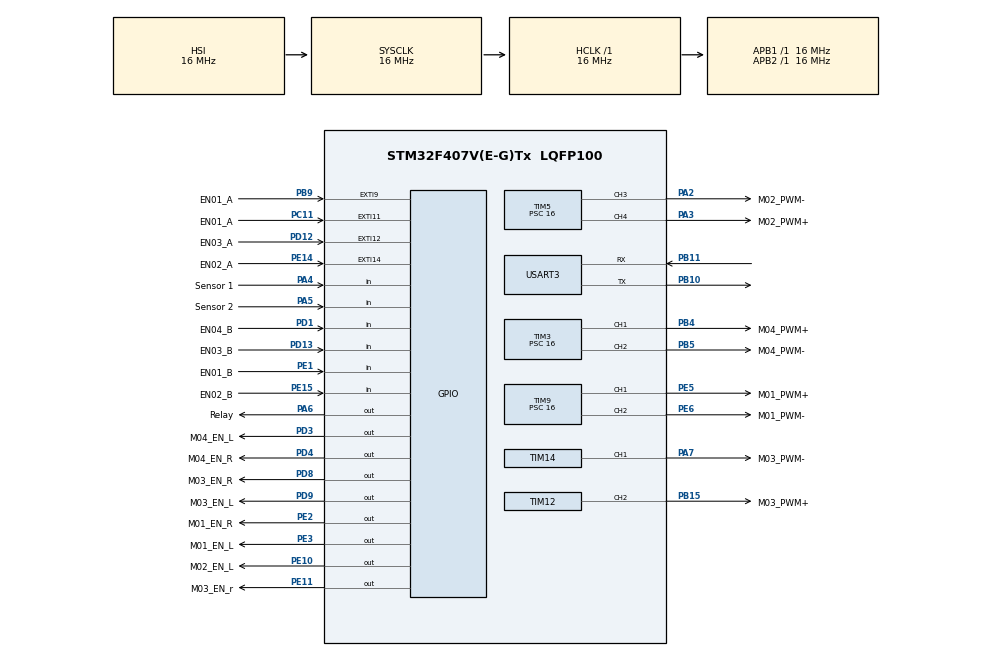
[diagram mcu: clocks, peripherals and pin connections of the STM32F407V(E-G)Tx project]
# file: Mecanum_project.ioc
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Dma.Request0=USART3_RX
Dma.USART3_RX.0.Direction=DMA_PERIPH_TO_MEMORY
Dma.USART3_RX.0.FIFOMode=DMA_FIFOMODE_DISABLE
Dma.USART3_RX.0.Instance=DMA1_Stream1
Dma.USART3_RX.0.MemDataAlignment=DMA_MDATAALIGN_BYTE
Dma.USART3_RX.0.MemInc=DMA_MINC_ENABLE
Dma.USART3_RX.0.Mode=DMA_NORMAL
Dma.USART3_RX.0.PeriphDataAlignment=DMA_PDATAALIGN_BYTE
Dma.USART3_RX.0.PeriphInc=DMA_PINC_DISABLE
Dma.USART3_RX.0.Priority=DMA_PRIORITY_LOW
Mcu.Family=STM32F4
Mcu.Name=STM32F407V(E-G)Tx
Mcu.Package=LQFP100
NVIC.DMA1_Stream1_IRQn=true\:0\:0\:false\:false\:true\:false\:true\:true
NVIC.EXTI15_10_IRQn=true\:2\:0\:true\:false\:true\:true\:true\:true
NVIC.EXTI9_5_IRQn=true\:2\:0\:true\:false\:true\:true\:true\:true
NVIC.PriorityGroup=NVIC_PRIORITYGROUP_4
NVIC.TIM4_IRQn=true\:1\:0\:true\:false\:true\:true\:true\:true
PA2.GPIO_Label=M02_PWM-
PA2.Signal=S_TIM5_CH3
PA3.GPIO_Label=M02_PWM+
PA3.Signal=S_TIM5_CH4
PA4.GPIO_Label=Sensor 1
PA4.Signal=GPIO_Input
PA5.GPIO_Label=Sensor 2
PA5.Signal=GPIO_Input
PA6.GPIO_Label=Relay
PA6.Signal=GPIO_Output
PA7.GPIO_Label=M03_PWM-
PA7.Signal=S_TIM14_CH1
PB10.Mode=Asynchronous
PB10.Signal=USART3_TX
PB11.Mode=Asynchronous
PB11.Signal=USART3_RX
PB15.GPIO_Label=M03_PWM+
PB15.Signal=S_TIM12_CH2
PB4.GPIO_Label=M04_PWM+
PB4.Signal=S_TIM3_CH1
PB5.GPIO_Label=M04_PWM-
PB5.Signal=S_TIM3_CH2
PB9.GPIO_Label=EN01_A
PB9.GPIO_ModeDefaultEXTI=GPIO_MODE_IT_FALLING
PB9.GPIO_PuPd=GPIO_PULLUP
PB9.Signal=GPXTI9
PC11.GPIO_Label=EN01_A
PC11.GPIO_ModeDefaultEXTI=GPIO_MODE_IT_FALLING
PC11.GPIO_PuPd=GPIO_PULLUP
PC11.Signal=GPXTI11
PD1.GPIO_Label=EN04_B
PD1.Signal=GPIO_Input
PD12.GPIO_Label=EN03_A
PD12.GPIO_ModeDefaultEXTI=GPIO_MODE_IT_FALLING
PD12.GPIO_PuPd=GPIO_PULLUP
PD12.Signal=GPXTI12
PD13.GPIO_Label=EN03_B
PD13.Signal=GPIO_Input
PD3.GPIO_Label=M04_EN_L
PD3.PinState=GPIO_PIN_SET
PD3.Signal=GPIO_Output
PD4.GPIO_Label=M04_EN_R
PD4.PinState=GPIO_PIN_SET
PD4.Signal=GPIO_Output
PD8.GPIO_Label=M03_EN_R
PD8.PinState=GPIO_PIN_SET
PD8.Signal=GPIO_Output
PD9.GPIO_Label=M03_EN_L
PD9.PinState=GPIO_PIN_SET
PD9.Signal=GPIO_Output
PE1.GPIO_Label=EN01_B
PE1.Signal=GPIO_Input
PE10.GPIO_Label=M02_EN_L
PE10.PinState=GPIO_PIN_SET
PE10.Signal=GPIO_Output
PE11.GPIO_Label=M03_EN_r
PE11.PinState=GPIO_PIN_SET
PE11.Signal=GPIO_Output
PE14.GPIO_Label=EN02_A
PE14.GPIO_ModeDefaultEXTI=GPIO_MODE_IT_FALLING
PE14.GPIO_PuPd=GPIO_PULLUP
PE14.Signal=GPXTI14
PE15.GPIO_Label=EN02_B
PE15.Signal=GPIO_Input
PE2.GPIO_Label=M01_EN_R
PE2.PinState=GPIO_PIN_SET
PE2.Signal=GPIO_Output
PE3.GPIO_Label=M01_EN_L
PE3.PinState=GPIO_PIN_SET
PE3.Signal=GPIO_Output
PE5.GPIO_Label=M01_PWM+
PE5.Signal=S_TIM9_CH1
PE6.GPIO_Label=M01_PWM-
PE6.Signal=S_TIM9_CH2
PH0-OSC_IN.Mode=HSE-External-Oscillator
PH0-OSC_IN.Signal=RCC_OSC_IN
PH1-OSC_OUT.Mode=HSE-External-Oscillator
PH1-OSC_OUT.Signal=RCC_OSC_OUT
ProjectManager.HeapSize=0x200
ProjectManager.StackSize=0x400
ProjectManager.TargetToolchain=MDK-ARM V5.27
RCC.48MHZClocksFreq_Value=48000000
RCC.AHBFreq_Value=16000000
RCC.APB1Freq_Value=16000000
RCC.APB1TimFreq_Value=16000000
RCC.APB2Freq_Value=16000000
RCC.APB2TimFreq_Value=16000000
RCC.CortexFreq_Value=16000000
RCC.HCLKFreq_Value=16000000
RCC.HSE_VALUE=25000000
RCC.HSI_VALUE=16000000
RCC.LSE_VALUE=32768
RCC.SYSCLKFreq_VALUE=16000000
RCC.VCOOutputFreq_Value=192000000
SH.S_TIM12_CH2.0=TIM12_CH2,PWM Generation2 CH2
SH.S_TIM14_CH1.0=TIM14_CH1,PWM Generation1 CH1
SH.S_TIM3_CH1.0=TIM3_CH1,PWM Generation1 CH1
SH.S_TIM3_CH2.0=TIM3_CH2,PWM Generation2 CH2
SH.S_TIM5_CH3.0=TIM5_CH3,PWM Generation3 CH3
SH.S_TIM5_CH4.0=TIM5_CH4,PWM Generation4 CH4
SH.S_TIM9_CH1.0=TIM9_CH1,PWM Generation1 CH1
SH.S_TIM9_CH2.0=TIM9_CH2,PWM Generation2 CH2
TIM12.Channel-PWM\ Generation2\ CH2=TIM_CHANNEL_2
TIM12.Period=999
TIM12.Prescaler=16
TIM14.Channel=TIM_CHANNEL_1
TIM14.Period=999
TIM14.Prescaler=16
TIM3.Channel-PWM\ Generation1\ CH1=TIM_CHANNEL_1
TIM3.Channel-PWM\ Generation2\ CH2=TIM_CHANNEL_2
TIM3.Period=999
TIM3.Prescaler=16
TIM4.Period=99
TIM4.Prescaler=16000
TIM5.Channel-PWM\ Generation3\ CH3=TIM_CHANNEL_3
TIM5.Channel-PWM\ Generation4\ CH4=TIM_CHANNEL_4
TIM5.Period=999
TIM5.Prescaler=16
TIM9.Channel-PWM\ Generation1\ CH1=TIM_CHANNEL_1
TIM9.Channel-PWM\ Generation2\ CH2=TIM_CHANNEL_2
TIM9.Period=999
TIM9.Prescaler=16
USART3.VirtualMode=VM_ASYNC
VP_TIM14_VS_ClockSourceINT.Mode=Enable_Timer
VP_TIM3_VS_ClockSourceINT.Mode=Internal
VP_TIM4_VS_ClockSourceINT.Mode=Internal
VP_TIM5_VS_ClockSourceINT.Mode=Internal
VP_TIM9_VS_ClockSourceINT.Mode=Internal
board=custom

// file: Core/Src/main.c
/* USER CODE BEGIN Header */
/**
  ******************************************************************************
  * @file           : main.c
  * @brief          : Main program body
  ******************************************************************************
  * @attention
  *
  * <h2><center>&copy; Copyright (c) 2022 STMicroelectronics.
  * All rights reserved.</center></h2>
  *
  * This software component is licensed by ST under BSD 3-Clause license,
  * the "License"; You may not use this file except in compliance with the
  * License. You may obtain a copy of the License at:
  *                        opensource.org/licenses/BSD-3-Clause
  *
  ******************************************************************************
  */
/* USER CODE END Header */
#include "main.h"

/* USER CODE BEGIN Includes */
#include "stdio.h"
#include "stdlib.h"
#include "string.h"
#include "math.h"
/* USER CODE END Includes */

TIM_HandleTypeDef htim3;
TIM_HandleTypeDef htim4;
TIM_HandleTypeDef htim5;
TIM_HandleTypeDef htim9;
TIM_HandleTypeDef htim12;
TIM_HandleTypeDef htim14;

UART_HandleTypeDef huart3;
DMA_HandleTypeDef hdma_usart3_rx;

/* USER CODE BEGIN PV */
uint8_t rx_data;
int rx_index = 0;
char rx_buffer[25];
char temp[25];
int check_var = 0;
//encoder variable
int pulse_counter1 = 0, pulse_counter2 = 0, pulse_counter3 = 0, pulse_counter4 = 0;

//velocity variable
float M_PI = 3.14;
float vx = 0, vy = 0, w_angle = 0;
float w_reference1_temp = 0, w_reference2_temp = 0, w_reference3_temp = 0, w_reference4_temp = 0; // van toc banh xe (rad/s)
float w_reference1 = 0, w_reference2 = 0, w_reference3 = 0, w_reference4 = 0; // van toc banh xe (rpm)
float w1 = 0, w2 = 0, w3 = 0, w4 = 0; // van toc thuc te cua banh xe (rpm)
float e1 = 0, e2 = 0, e3 = 0, e4 = 0; // sai lech van toc thuc te va van toc dat cua banh xe
float pre_e1 = 0, pre_e2 = 0, pre_e3 = 0, pre_e4 = 0;  // gia tri sai lech van toc e-1
float const max_pwm = 500;  // do rong xung max

//robot variable
float const r_wheel = 0.048;  // ban kinh banh xe
float lx = 0.21919; // khoang cach tu tam banh xe den tam robot theo phuong x
float ly = 0.21647; // khoang cach tu banh xe den tam robot theo phuong y

//PID parameters
float kP = 1.2, kI = 0.08, kD = 0.002;  // bo dieu khien pid
float pPart1 = 0, pPart2 = 0, pPart3 = 0, pPart4 = 0;
float iPart1 = 0, iPart2 = 0, iPart3 = 0, iPart4 = 0;
float dPart1 = 0, dPart2 = 0, dPart3 = 0, dPart4 = 0;
float PID_signal1 = 0, PID_signal2 = 0, PID_signal3 = 0, PID_signal4 = 0;		//do rong xung
float signal_pos1 = 0, signal_neg1 = 0;  //signal_pos: dong co quay thuan. signal_neg: dong co quay nguoc
float signal_pos2 = 0, signal_neg2 = 0;
float signal_pos3 = 0, signal_neg3 = 0;
float signal_pos4 = 0, signal_neg4 = 0;

// Posion calcalate
float w1_rad = 0, w2_rad = 0, w3_rad = 0, w4_rad = 0;
float v_wheel1 = 0, v_wheel2 = 0, v_wheel3 = 0, v_wheel4 = 0;

// Sensor parameters
unsigned int flag = 0;
unsigned int Sensor1;
unsigned int Sensor2;

/* USER CODE END PV */

void SystemClock_Config(void);
static void MX_GPIO_Init(void);
static void MX_DMA_Init(void);
static void MX_TIM3_Init(void);
static void MX_TIM4_Init(void);
static void MX_TIM5_Init(void);
static void MX_TIM9_Init(void);
static void MX_TIM12_Init(void);
static void MX_TIM14_Init(void);
static void MX_USART3_UART_Init(void);

/* USER CODE BEGIN 0 */
void Init_Motor1()  // khoi tao dong co
{

	////Enable H-bridge // enable cau H
	HAL_GPIO_WritePin(GPIOE, GPIO_PIN_2, 1);			//bridge1 EN_R
	HAL_GPIO_WritePin(GPIOE, GPIO_PIN_3, 1);			//bridge1 EN_L
	////Start PWM // start pwm
	//PWM Motor 1
	HAL_TIM_PWM_Start(&htim9, TIM_CHANNEL_1);			//Motor1 +
	HAL_TIM_PWM_Start(&htim9, TIM_CHANNEL_2);			//Motor1 -
// set van toc = 0
	__HAL_TIM_SetCompare(&htim9, TIM_CHANNEL_1, 0);
	__HAL_TIM_SetCompare(&htim9, TIM_CHANNEL_2, 0);
}

void Init_Motor2()
{
	////Enable H-bridge
	HAL_GPIO_WritePin(GPIOE, GPIO_PIN_11, 1);			//bridge1 EN_R
	HAL_GPIO_WritePin(GPIOE, GPIO_PIN_10, 1);			//bridge1 EN_L
	////Start PWM
	//PWM Motor 2
	HAL_TIM_PWM_Start(&htim5, TIM_CHANNEL_3);			//Motor2 +
	HAL_TIM_PWM_Start(&htim5, TIM_CHANNEL_4);			//Motor2 -

	__HAL_TIM_SetCompare(&htim5,TIM_CHANNEL_3, 0);
	__HAL_TIM_SetCompare(&htim5,TIM_CHANNEL_4, 0);

}

void Init_Motor3()
{
	////Enable H-bridge
	HAL_GPIO_WritePin(GPIOD, GPIO_PIN_8, 1);			//bridge1 EN_R
	HAL_GPIO_WritePin(GPIOD, GPIO_PIN_9, 1);			//bridge1 EN_L
	////Start PWM
	//PWM Motor 3
	HAL_TIM_PWM_Start(&htim14, TIM_CHANNEL_1);		//Motor3 +
	HAL_TIM_PWM_Start(&htim12, TIM_CHANNEL_2);		//Motor3 -

	__HAL_TIM_SetCompare(&htim14,TIM_CHANNEL_1, 0);
	__HAL_TIM_SetCompare(&htim12,TIM_CHANNEL_2, 0);
}

void Init_Motor4()
{
	////Enable H-bridge
	HAL_GPIO_WritePin(GPIOB, GPIO_PIN_3, 1);			//bridge1 EN_R
	HAL_GPIO_WritePin(GPIOG, GPIO_PIN_15, 1);			//bridge1 EN_L
	////Start PWM
	//PWM Motor 4
	HAL_TIM_PWM_Start(&htim3, TIM_CHANNEL_1);			//Motor4 +
	HAL_TIM_PWM_Start(&htim3, TIM_CHANNEL_2);			//Motor4 -

	__HAL_TIM_SetCompare(&htim3,TIM_CHANNEL_1, 0);
	__HAL_TIM_SetCompare(&htim3,TIM_CHANNEL_2, 0);
}

//Function of sensor
void sensorCheck()
{
		/**Sensor1 = HAL_GPIO_ReadPin(Sensor_1_GPIO_Port, Sensor1);
		Sensor2 = HAL_GPIO_ReadPin(Sensor_2_GPIO_Port, Sensor2);
    if ((Sensor1 == 1 && Sensor2 == 0))
    {
      flag =1;

    }
		else if((Sensor1 == 0 && Sensor2 == 1) ){

			flag = 0;

		}
    if (flag == 1)
    {
      HAL_GPIO_WritePin(Relay_GPIO_Port, Relay_Pin, 1);

    }
    else
    {

      HAL_GPIO_WritePin(Relay_GPIO_Port, Relay_Pin, 0);
    }*/
}

/* USER CODE END 0 */

int main(void)
{

  /* MCU Configuration--------------------------------------------------------*/

  /* Reset of all peripherals, Initializes the Flash interface and the Systick. */
  HAL_Init();

  /* Configure the system clock */
  SystemClock_Config();

  /* Initialize all configured peripherals */
  MX_GPIO_Init();
  MX_DMA_Init();
  MX_TIM3_Init();
  MX_TIM4_Init();
  MX_TIM5_Init();
  MX_TIM9_Init();
  MX_TIM12_Init();
  MX_TIM14_Init();
  MX_USART3_UART_Init();
  /* USER CODE BEGIN 2 */
  HAL_TIM_Base_Start_IT(&htim4);
  ////Start UART Receive interupt
	HAL_UART_Receive_DMA(&huart3, &rx_data, 1);

  Init_Motor1();
  Init_Motor2();
  Init_Motor3();
  Init_Motor4();
  /* USER CODE END 2 */

  /* Infinite loop */
  while (1)
  {
		//sensorCheck();
		Sensor1 = HAL_GPIO_ReadPin(Sensor_1_GPIO_Port, Sensor1);
		Sensor2 = HAL_GPIO_ReadPin(Sensor_2_GPIO_Port, Sensor2);
    if ((Sensor1 == 1 && Sensor2 == 0))
    {
      flag =1;

    }
		else if((Sensor1 == 0 && Sensor2 == 1) ){

			flag = 0;

		}
    if (flag == 1)
    {
      HAL_GPIO_WritePin(Relay_GPIO_Port, Relay_Pin, 1);

    }
    else
    {

      HAL_GPIO_WritePin(Relay_GPIO_Port, Relay_Pin, 0);
    }
  }
}

void SystemClock_Config(void)
{
  RCC_OscInitTypeDef RCC_OscInitStruct = {0};
  RCC_ClkInitTypeDef RCC_ClkInitStruct = {0};

  /** Configure the main internal regulator output voltage
  */
  __HAL_RCC_PWR_CLK_ENABLE();
  __HAL_PWR_VOLTAGESCALING_CONFIG(PWR_REGULATOR_VOLTAGE_SCALE1);
  /** Initializes the RCC Oscillators according to the specified parameters
  * in the RCC_OscInitTypeDef structure.
  */
  RCC_OscInitStruct.OscillatorType = RCC_OSCILLATORTYPE_HSI;
  RCC_OscInitStruct.HSIState = RCC_HSI_ON;
  RCC_OscInitStruct.HSICalibrationValue = RCC_HSICALIBRATION_DEFAULT;
  RCC_OscInitStruct.PLL.PLLState = RCC_PLL_NONE;
  if (HAL_RCC_OscConfig(&RCC_OscInitStruct) != HAL_OK)
  {
    Error_Handler();
  }
  /** Initializes the CPU, AHB and APB buses clocks
  */
  RCC_ClkInitStruct.ClockType = RCC_CLOCKTYPE_HCLK|RCC_CLOCKTYPE_SYSCLK
                              |RCC_CLOCKTYPE_PCLK1|RCC_CLOCKTYPE_PCLK2;
  RCC_ClkInitStruct.SYSCLKSource = RCC_SYSCLKSOURCE_HSI;
  RCC_ClkInitStruct.AHBCLKDivider = RCC_SYSCLK_DIV1;
  RCC_ClkInitStruct.APB1CLKDivider = RCC_HCLK_DIV1;
  RCC_ClkInitStruct.APB2CLKDivider = RCC_HCLK_DIV1;

  if (HAL_RCC_ClockConfig(&RCC_ClkInitStruct, FLASH_LATENCY_0) != HAL_OK)
  {
    Error_Handler();
  }
}

static void MX_TIM3_Init(void)
{

  TIM_ClockConfigTypeDef sClockSourceConfig = {0};
  TIM_MasterConfigTypeDef sMasterConfig = {0};
  TIM_OC_InitTypeDef sConfigOC = {0};

  htim3.Instance = TIM3;
  htim3.Init.Prescaler = 16;
  htim3.Init.CounterMode = TIM_COUNTERMODE_UP;
  htim3.Init.Period = 999;
  htim3.Init.ClockDivision = TIM_CLOCKDIVISION_DIV1;
  htim3.Init.AutoReloadPreload = TIM_AUTORELOAD_PRELOAD_DISABLE;
  if (HAL_TIM_Base_Init(&htim3) != HAL_OK)
  {
    Error_Handler();
  }
  sClockSourceConfig.ClockSource = TIM_CLOCKSOURCE_INTERNAL;
  if (HAL_TIM_ConfigClockSource(&htim3, &sClockSourceConfig) != HAL_OK)
  {
    Error_Handler();
  }
  if (HAL_TIM_PWM_Init(&htim3) != HAL_OK)
  {
    Error_Handler();
  }
  sMasterConfig.MasterOutputTrigger = TIM_TRGO_RESET;
  sMasterConfig.MasterSlaveMode = TIM_MASTERSLAVEMODE_DISABLE;
  if (HAL_TIMEx_MasterConfigSynchronization(&htim3, &sMasterConfig) != HAL_OK)
  {
    Error_Handler();
  }
  sConfigOC.OCMode = TIM_OCMODE_PWM1;
  sConfigOC.Pulse = 0;
  sConfigOC.OCPolarity = TIM_OCPOLARITY_HIGH;
  sConfigOC.OCFastMode = TIM_OCFAST_DISABLE;
  if (HAL_TIM_PWM_ConfigChannel(&htim3, &sConfigOC, TIM_CHANNEL_1) != HAL_OK)
  {
    Error_Handler();
  }
  if (HAL_TIM_PWM_ConfigChannel(&htim3, &sConfigOC, TIM_CHANNEL_2) != HAL_OK)
  {
    Error_Handler();
  }
  HAL_TIM_MspPostInit(&htim3);

}

static void MX_TIM4_Init(void)
{

  TIM_ClockConfigTypeDef sClockSourceConfig = {0};
  TIM_MasterConfigTypeDef sMasterConfig = {0};

  htim4.Instance = TIM4;
  htim4.Init.Prescaler = 16000;
  htim4.Init.CounterMode = TIM_COUNTERMODE_UP;
  htim4.Init.Period = 99;
  htim4.Init.ClockDivision = TIM_CLOCKDIVISION_DIV1;
  htim4.Init.AutoReloadPreload = TIM_AUTORELOAD_PRELOAD_DISABLE;
  if (HAL_TIM_Base_Init(&htim4) != HAL_OK)
  {
    Error_Handler();
  }
  sClockSourceConfig.ClockSource = TIM_CLOCKSOURCE_INTERNAL;
  if (HAL_TIM_ConfigClockSource(&htim4, &sClockSourceConfig) != HAL_OK)
  {
    Error_Handler();
  }
  sMasterConfig.MasterOutputTrigger = TIM_TRGO_RESET;
  sMasterConfig.MasterSlaveMode = TIM_MASTERSLAVEMODE_DISABLE;
  if (HAL_TIMEx_MasterConfigSynchronization(&htim4, &sMasterConfig) != HAL_OK)
  {
    Error_Handler();
  }

}

static void MX_TIM5_Init(void)
{

  TIM_ClockConfigTypeDef sClockSourceConfig = {0};
  TIM_MasterConfigTypeDef sMasterConfig = {0};
  TIM_OC_InitTypeDef sConfigOC = {0};

  htim5.Instance = TIM5;
  htim5.Init.Prescaler = 16;
  htim5.Init.CounterMode = TIM_COUNTERMODE_UP;
  htim5.Init.Period = 999;
  htim5.Init.ClockDivision = TIM_CLOCKDIVISION_DIV1;
  htim5.Init.AutoReloadPreload = TIM_AUTORELOAD_PRELOAD_DISABLE;
  if (HAL_TIM_Base_Init(&htim5) != HAL_OK)
  {
    Error_Handler();
  }
  sClockSourceConfig.ClockSource = TIM_CLOCKSOURCE_INTERNAL;
  if (HAL_TIM_ConfigClockSource(&htim5, &sClockSourceConfig) != HAL_OK)
  {
    Error_Handler();
  }
  if (HAL_TIM_PWM_Init(&htim5) != HAL_OK)
  {
    Error_Handler();
  }
  sMasterConfig.MasterOutputTrigger = TIM_TRGO_RESET;
  sMasterConfig.MasterSlaveMode = TIM_MASTERSLAVEMODE_DISABLE;
  if (HAL_TIMEx_MasterConfigSynchronization(&htim5, &sMasterConfig) != HAL_OK)
  {
    Error_Handler();
  }
  sConfigOC.OCMode = TIM_OCMODE_PWM1;
  sConfigOC.Pulse = 0;
  sConfigOC.OCPolarity = TIM_OCPOLARITY_HIGH;
  sConfigOC.OCFastMode = TIM_OCFAST_DISABLE;
  if (HAL_TIM_PWM_ConfigChannel(&htim5, &sConfigOC, TIM_CHANNEL_3) != HAL_OK)
  {
    Error_Handler();
  }
  if (HAL_TIM_PWM_ConfigChannel(&htim5, &sConfigOC, TIM_CHANNEL_4) != HAL_OK)
  {
    Error_Handler();
  }
  HAL_TIM_MspPostInit(&htim5);

}

static void MX_TIM9_Init(void)
{

  TIM_ClockConfigTypeDef sClockSourceConfig = {0};
  TIM_OC_InitTypeDef sConfigOC = {0};

  htim9.Instance = TIM9;
  htim9.Init.Prescaler = 16;
  htim9.Init.CounterMode = TIM_COUNTERMODE_UP;
  htim9.Init.Period = 999;
  htim9.Init.ClockDivision = TIM_CLOCKDIVISION_DIV1;
  htim9.Init.AutoReloadPreload = TIM_AUTORELOAD_PRELOAD_DISABLE;
  if (HAL_TIM_Base_Init(&htim9) != HAL_OK)
  {
    Error_Handler();
  }
  sClockSourceConfig.ClockSource = TIM_CLOCKSOURCE_INTERNAL;
  if (HAL_TIM_ConfigClockSource(&htim9, &sClockSourceConfig) != HAL_OK)
  {
    Error_Handler();
  }
  if (HAL_TIM_PWM_Init(&htim9) != HAL_OK)
  {
    Error_Handler();
  }
  sConfigOC.OCMode = TIM_OCMODE_PWM1;
  sConfigOC.Pulse = 0;
  sConfigOC.OCPolarity = TIM_OCPOLARITY_HIGH;
  sConfigOC.OCFastMode = TIM_OCFAST_DISABLE;
  if (HAL_TIM_PWM_ConfigChannel(&htim9, &sConfigOC, TIM_CHANNEL_1) != HAL_OK)
  {
    Error_Handler();
  }
  if (HAL_TIM_PWM_ConfigChannel(&htim9, &sConfigOC, TIM_CHANNEL_2) != HAL_OK)
  {
    Error_Handler();
  }
  HAL_TIM_MspPostInit(&htim9);

}

static void MX_TIM12_Init(void)
{

  TIM_OC_InitTypeDef sConfigOC = {0};

  htim12.Instance = TIM12;
  htim12.Init.Prescaler = 16;
  htim12.Init.CounterMode = TIM_COUNTERMODE_UP;
  htim12.Init.Period = 999;
  htim12.Init.ClockDivision = TIM_CLOCKDIVISION_DIV1;
  htim12.Init.AutoReloadPreload = TIM_AUTORELOAD_PRELOAD_DISABLE;
  if (HAL_TIM_PWM_Init(&htim12) != HAL_OK)
  {
    Error_Handler();
  }
  sConfigOC.OCMode = TIM_OCMODE_PWM1;
  sConfigOC.Pulse = 0;
  sConfigOC.OCPolarity = TIM_OCPOLARITY_HIGH;
  sConfigOC.OCFastMode = TIM_OCFAST_DISABLE;
  if (HAL_TIM_PWM_ConfigChannel(&htim12, &sConfigOC, TIM_CHANNEL_2) != HAL_OK)
  {
    Error_Handler();
  }
  HAL_TIM_MspPostInit(&htim12);

}

static void MX_TIM14_Init(void)
{

  TIM_OC_InitTypeDef sConfigOC = {0};

  htim14.Instance = TIM14;
  htim14.Init.Prescaler = 16;
  htim14.Init.CounterMode = TIM_COUNTERMODE_UP;
  htim14.Init.Period = 999;
  htim14.Init.ClockDivision = TIM_CLOCKDIVISION_DIV1;
  htim14.Init.AutoReloadPreload = TIM_AUTORELOAD_PRELOAD_DISABLE;
  if (HAL_TIM_Base_Init(&htim14) != HAL_OK)
  {
    Error_Handler();
  }
  if (HAL_TIM_PWM_Init(&htim14) != HAL_OK)
  {
    Error_Handler();
  }
  sConfigOC.OCMode = TIM_OCMODE_PWM1;
  sConfigOC.Pulse = 0;
  sConfigOC.OCPolarity = TIM_OCPOLARITY_HIGH;
  sConfigOC.OCFastMode = TIM_OCFAST_DISABLE;
  if (HAL_TIM_PWM_ConfigChannel(&htim14, &sConfigOC, TIM_CHANNEL_1) != HAL_OK)
  {
    Error_Handler();
  }
  HAL_TIM_MspPostInit(&htim14);

}

static void MX_USART3_UART_Init(void)
{

  huart3.Instance = USART3;
  huart3.Init.BaudRate = 115200;
  huart3.Init.WordLength = UART_WORDLENGTH_8B;
  huart3.Init.StopBits = UART_STOPBITS_1;
  huart3.Init.Parity = UART_PARITY_NONE;
  huart3.Init.Mode = UART_MODE_TX_RX;
  huart3.Init.HwFlowCtl = UART_HWCONTROL_NONE;
  huart3.Init.OverSampling = UART_OVERSAMPLING_16;
  if (HAL_UART_Init(&huart3) != HAL_OK)
  {
    Error_Handler();
  }

}

static void MX_DMA_Init(void)
{

  /* DMA controller clock enable */
  __HAL_RCC_DMA1_CLK_ENABLE();

  /* DMA interrupt init */
  /* DMA1_Stream1_IRQn interrupt configuration */
  HAL_NVIC_SetPriority(DMA1_Stream1_IRQn, 0, 0);
  HAL_NVIC_EnableIRQ(DMA1_Stream1_IRQn);

}

static void MX_GPIO_Init(void)
{
  GPIO_InitTypeDef GPIO_InitStruct = {0};

  /* GPIO Ports Clock Enable */
  __HAL_RCC_GPIOE_CLK_ENABLE();
  __HAL_RCC_GPIOH_CLK_ENABLE();
  __HAL_RCC_GPIOA_CLK_ENABLE();
  __HAL_RCC_GPIOB_CLK_ENABLE();
  __HAL_RCC_GPIOD_CLK_ENABLE();
  __HAL_RCC_GPIOC_CLK_ENABLE();

  /*Configure GPIO pin Output Level */
  HAL_GPIO_WritePin(GPIOE, M01_EN_R_Pin|M01_EN_L_Pin|M02_EN_L_Pin|M03_EN_r_Pin, GPIO_PIN_SET);

  /*Configure GPIO pin Output Level */
  HAL_GPIO_WritePin(Relay_GPIO_Port, Relay_Pin, GPIO_PIN_RESET);

  /*Configure GPIO pin Output Level */
  HAL_GPIO_WritePin(GPIOD, M03_EN_R_Pin|M03_EN_L_Pin|M04_EN_L_Pin|M04_EN_R_Pin, GPIO_PIN_SET);

  /*Configure GPIO pins : M01_EN_R_Pin M01_EN_L_Pin M02_EN_L_Pin M03_EN_r_Pin */
  GPIO_InitStruct.Pin = M01_EN_R_Pin|M01_EN_L_Pin|M02_EN_L_Pin|M03_EN_r_Pin;
  GPIO_InitStruct.Mode = GPIO_MODE_OUTPUT_PP;
  GPIO_InitStruct.Pull = GPIO_NOPULL;
  GPIO_InitStruct.Speed = GPIO_SPEED_FREQ_LOW;
  HAL_GPIO_Init(GPIOE, &GPIO_InitStruct);

  /*Configure GPIO pins : Sensor_1_Pin Sensor_2_Pin */
  GPIO_InitStruct.Pin = Sensor_1_Pin|Sensor_2_Pin;
  GPIO_InitStruct.Mode = GPIO_MODE_INPUT;
  GPIO_InitStruct.Pull = GPIO_NOPULL;
  HAL_GPIO_Init(GPIOA, &GPIO_InitStruct);

  /*Configure GPIO pin : Relay_Pin */
  GPIO_InitStruct.Pin = Relay_Pin;
  GPIO_InitStruct.Mode = GPIO_MODE_OUTPUT_PP;
  GPIO_InitStruct.Pull = GPIO_NOPULL;
  GPIO_InitStruct.Speed = GPIO_SPEED_FREQ_LOW;
  HAL_GPIO_Init(Relay_GPIO_Port, &GPIO_InitStruct);

  /*Configure GPIO pin : EN02_A_Pin */
  GPIO_InitStruct.Pin = EN02_A_Pin;
  GPIO_InitStruct.Mode = GPIO_MODE_IT_FALLING;
  GPIO_InitStruct.Pull = GPIO_PULLUP;
  HAL_GPIO_Init(EN02_A_GPIO_Port, &GPIO_InitStruct);

  /*Configure GPIO pins : EN02_B_Pin EN01_B_Pin */
  GPIO_InitStruct.Pin = EN02_B_Pin|EN01_B_Pin;
  GPIO_InitStruct.Mode = GPIO_MODE_INPUT;
  GPIO_InitStruct.Pull = GPIO_NOPULL;
  HAL_GPIO_Init(GPIOE, &GPIO_InitStruct);

  /*Configure GPIO pins : M03_EN_R_Pin M03_EN_L_Pin M04_EN_L_Pin M04_EN_R_Pin */
  GPIO_InitStruct.Pin = M03_EN_R_Pin|M03_EN_L_Pin|M04_EN_L_Pin|M04_EN_R_Pin;
  GPIO_InitStruct.Mode = GPIO_MODE_OUTPUT_PP;
  GPIO_InitStruct.Pull = GPIO_NOPULL;
  GPIO_InitStruct.Speed = GPIO_SPEED_FREQ_LOW;
  HAL_GPIO_Init(GPIOD, &GPIO_InitStruct);

  /*Configure GPIO pin : EN03_A_Pin */
  GPIO_InitStruct.Pin = EN03_A_Pin;
  GPIO_InitStruct.Mode = GPIO_MODE_IT_FALLING;
  GPIO_InitStruct.Pull = GPIO_PULLUP;
  HAL_GPIO_Init(EN03_A_GPIO_Port, &GPIO_InitStruct);

  /*Configure GPIO pins : EN03_B_Pin EN04_B_Pin */
  GPIO_InitStruct.Pin = EN03_B_Pin|EN04_B_Pin;
  GPIO_InitStruct.Mode = GPIO_MODE_INPUT;
  GPIO_InitStruct.Pull = GPIO_NOPULL;
  HAL_GPIO_Init(GPIOD, &GPIO_InitStruct);

  /*Configure GPIO pin : EN01_A_Pin */
  GPIO_InitStruct.Pin = EN01_A_Pin;
  GPIO_InitStruct.Mode = GPIO_MODE_IT_FALLING;
  GPIO_InitStruct.Pull = GPIO_PULLUP;
  HAL_GPIO_Init(EN01_A_GPIO_Port, &GPIO_InitStruct);

  /*Configure GPIO pin : EN01_AB9_Pin */
  GPIO_InitStruct.Pin = EN01_AB9_Pin;
  GPIO_InitStruct.Mode = GPIO_MODE_IT_FALLING;
  GPIO_InitStruct.Pull = GPIO_PULLUP;
  HAL_GPIO_Init(EN01_AB9_GPIO_Port, &GPIO_InitStruct);

  /* EXTI interrupt init*/
  HAL_NVIC_SetPriority(EXTI9_5_IRQn, 2, 0);
  HAL_NVIC_EnableIRQ(EXTI9_5_IRQn);

  HAL_NVIC_SetPriority(EXTI15_10_IRQn, 2, 0);
  HAL_NVIC_EnableIRQ(EXTI15_10_IRQn);

}

/* USER CODE BEGIN 4 */
void cal_vel_ref(float vx, float vy, float w_angle)  // tinh van toc cua moi banh xe
{
	//calculate ref for each wheel
	w_reference1_temp = (1/r_wheel)*(vx - vy - (lx + ly)*w_angle);		    //(rad/s)
	w_reference2_temp = (1/r_wheel)*(vx + vy + (lx + ly)*w_angle);		//(rad/s)
	w_reference3_temp = (1/r_wheel)*(vx + vy - (lx + ly)*w_angle);		    //(rad/s)
	w_reference4_temp = (1/r_wheel)*(vx - vy + (lx + ly)*w_angle);	    //(rad/s)

	//doi sang don vi rpm
	w_reference1 = (w_reference1_temp)*60/(2*M_PI);
	w_reference2 = (w_reference2_temp)*60/(2*M_PI);
	w_reference3 = (w_reference3_temp)*60/(2*M_PI);
	w_reference4 = (w_reference4_temp)*60/(2*M_PI);
}

void PID_controller_wheel1(float w_reference1)	//bo dieu khien pid cho banh xe
{
	w1 = (float)(pulse_counter1)*2.609;		//van toc thuc te cua banh xe = pulse_counte * (60*10)/230
	pulse_counter1 = 0; //reset encoder = 0
	if(w_reference1 == 0)		//neu van toc dat = 0 thi van toc dong co = 0
	{
		signal_pos1 = 0;
		signal_neg1 = 0;
	}
	else //neu van toc dat khac 0
	{
		e1 = w_reference1 - w1;		//sai lech van toc
		pPart1 = kP*e1;		//cong thuc PID
		iPart1 += kI*e1*0.1;
		dPart1 = kD*(e1 - pre_e1)*10;
		PID_signal1 += pPart1 + iPart1 + dPart1; // cong thuc pid

		if (PID_signal1 > max_pwm) PID_signal1 = max_pwm;	//van toc max cua dong co
		if (PID_signal1 < -max_pwm) PID_signal1 = -max_pwm;

		if (PID_signal1 >= 0)		//dong co quay thuan
		{	//quay thuan
			signal_pos1 = 0;
			signal_neg1 = PID_signal1;
		}
		else		// dong co quay nguoc
		{	//quay nguoc
			signal_pos1 = -PID_signal1;
			signal_neg1 = 0;
		}
		pre_e1 = e1;
	}
}
void PID_controller_wheel2(float w_reference2)
{
	w2 = (float)(pulse_counter2)*2.609;
	pulse_counter2 = 0;
	if(w_reference2 == 0)
	{
		signal_pos2 = 0;
		signal_neg2 = 0;
	}
	else
	{
		e2 = w_reference2 - w2;
		pPart2 = kP*e2;
		iPart2 += kI*e2*0.1;
		dPart2 = kD*(e2 - pre_e2)*10;
		PID_signal2 += pPart2 + iPart2 + dPart2;

		if (PID_signal2 > max_pwm) PID_signal2 = max_pwm;
		if (PID_signal2 < -max_pwm) PID_signal2 = -max_pwm;

		if (PID_signal2 >= 0)
		{	//quay thuan
			signal_pos2 = PID_signal2;
			signal_neg2 = 0;
		}
		else
		{	//quay nguoc
			signal_pos2 = 0;
			signal_neg2 = -PID_signal2;
		}
		pre_e2 = e2;
	}
}
void PID_controller_wheel3(float w_reference3)
{
	w3 = (float)(pulse_counter3)*2.609;
	pulse_counter3 = 0;
	if(w_reference3 == 0)
	{
		signal_pos3 = 0;
		signal_neg3 = 0;
	}
	else
	{
		e3 = w_reference3 - w3;
		pPart3 = kP*e3;
		iPart3 += kI*e3*0.1;
		dPart3 = kD*(e3 - pre_e3)*10;
		PID_signal3 += pPart3 + iPart3 + dPart3;

		if (PID_signal3 > max_pwm) PID_signal3 = max_pwm;
		if (PID_signal3 < -max_pwm) PID_signal3 = -max_pwm;

		if (PID_signal3 >= 0)
		{	//quay thuan
			signal_pos3 = 0;
			signal_neg3 = PID_signal3;
		}
		else
		{	//quay nguoc
			signal_pos3 = -PID_signal3;
			signal_neg3 = 0;
		}
		pre_e3 = e3;
	}
}
void PID_controller_wheel4(float w_reference4)
{
	w4 = (float)(pulse_counter4)*2.609;
	pulse_counter4 = 0;
	if(w_reference4 == 0)
	{
		signal_pos4 = 0;
		signal_neg4 = 0;
	}
	else
	{
		e4 = w_reference4 - w4;
		pPart4 = kP*e4;
		iPart4 += kI*e4*0.1;
		dPart4 = kD*(e4 - pre_e4)*10;
		PID_signal4 += pPart4 + iPart4 + dPart4;

		if (PID_signal4 > max_pwm) PID_signal4 = max_pwm;
		if (PID_signal4 < -max_pwm) PID_signal4 = -max_pwm;

		if (PID_signal4 >= 0)
		{	//quay thuan
			signal_pos4 = PID_signal4;
			signal_neg4 = 0;
		}
		else
		{	//quay nguoc
			signal_pos4 = 0;
			signal_neg4 = -PID_signal4;
		}
		pre_e4 = e4;
	}
}

void position_cal()		//tinh toan gia tri van toc dong co
{
	//read encoder RPM
	w1 = (float)(pulse_counter1)*2.609;
	w2 = (float)(pulse_counter2)*2.609;
	w3 = (float)(pulse_counter3)*2.609;
	w4 = (float)(pulse_counter4)*2.609;
	//convert to radian/s
	w1_rad = (w1)*(2*M_PI)/60;
	w2_rad = (w2)*(2*M_PI)/60;
	w3_rad = (w3)*(2*M_PI)/60;
	w4_rad = (w4)*(2*M_PI)/60;
	//convert to m/s
	v_wheel1 = w1_rad*r_wheel;
	v_wheel2 = w2_rad*r_wheel;
	v_wheel3 = w3_rad*r_wheel;
	v_wheel4 = w4_rad*r_wheel;
}

void HAL_TIM_PeriodElapsedCallback(TIM_HandleTypeDef *htim)		//ham ngat timer 4, chu ky cua he thong = 0.1s, tinh toan lai van toc cua dong co sau moi 0.1s
{
	if (htim->Instance == htim4.Instance)
	{
		position_cal();
		cal_vel_ref(vx, vy, w_angle);			//calculate ref for eachwheel
		PID_controller_wheel1(w_reference1);
		PID_controller_wheel2(w_reference2);
		PID_controller_wheel3(w_reference3);
		PID_controller_wheel4(w_reference4);

		__HAL_TIM_SetCompare(&htim9, TIM_CHANNEL_1, signal_pos1);
		__HAL_TIM_SetCompare(&htim9, TIM_CHANNEL_2, signal_neg1);
		__HAL_TIM_SetCompare(&htim5, TIM_CHANNEL_3, signal_pos2);
		__HAL_TIM_SetCompare(&htim5, TIM_CHANNEL_4, signal_neg2);
		__HAL_TIM_SetCompare(&htim14, TIM_CHANNEL_1, signal_pos3);
		__HAL_TIM_SetCompare(&htim12, TIM_CHANNEL_2, signal_neg3);
		__HAL_TIM_SetCompare(&htim3, TIM_CHANNEL_1, signal_pos4);
		__HAL_TIM_SetCompare(&htim3, TIM_CHANNEL_2, signal_neg4);
	}
}
void HAL_GPIO_EXTI_Callback(uint16_t GPIO_Pin)		//ham ngat ngoai, de doc gia tri encoder
{
	//Encoder moto1
	if(GPIO_Pin == GPIO_PIN_9)
	{
		if(HAL_GPIO_ReadPin(GPIOE, GPIO_PIN_1) == 0)
		{
			pulse_counter1--; // neu dong co quay thuan, encoder giam di 1
		}
		else
		{
			pulse_counter1++;	// neu dong co quay nghich, encoder tang them 1
		}
	}
	//Encoder moto2
	if(GPIO_Pin == GPIO_PIN_14)
	{
		if(HAL_GPIO_ReadPin(GPIOE, GPIO_PIN_15) == 0)
		{
			pulse_counter2++;
		}
		else
		{
			pulse_counter2--;
		}
	}
	//Encoder moto3
	if(GPIO_Pin == GPIO_PIN_12)
	{
		if(HAL_GPIO_ReadPin(GPIOD, GPIO_PIN_13) == 0)
		{
			pulse_counter3--;
		}
		else
		{
			pulse_counter3++;
		}
	}
	//Encoder moto4
	if(GPIO_Pin == GPIO_PIN_11)
	{
		if(HAL_GPIO_ReadPin(GPIOD, GPIO_PIN_1) == 0)
		{
			pulse_counter4++;
		}
		else
		{
			pulse_counter4--;
		}
	}
}
void HAL_UART_RxCpltCallback(UART_HandleTypeDef *huart)		//ham ngat uart, nhan gia tri van toc tu may tinh
{
	if(huart->Instance == huart3.Instance)
	{
		if(rx_index == 0)
		{
			for(int i=0;i<=25;i++)
			{
				rx_buffer[i] = 0;
			}
		}
		rx_buffer[rx_index] = rx_data;
		rx_index++;

		if(rx_data=='x')
		{
			vx=atof(rx_buffer);
			rx_index=0;
		}
		if(rx_data=='y')
		{
			vy=atof(rx_buffer);
			rx_index=0;
		}
		if(rx_data=='w')
		{
			w_angle=atof(rx_buffer);
			rx_index=0;
		}
		HAL_UART_Receive_DMA(&huart3, &rx_data,1);
	}
}
/* USER CODE END 4 */

void Error_Handler(void)
{
}

/************************ (C) COPYRIGHT STMicroelectronics *****END OF FILE****/
